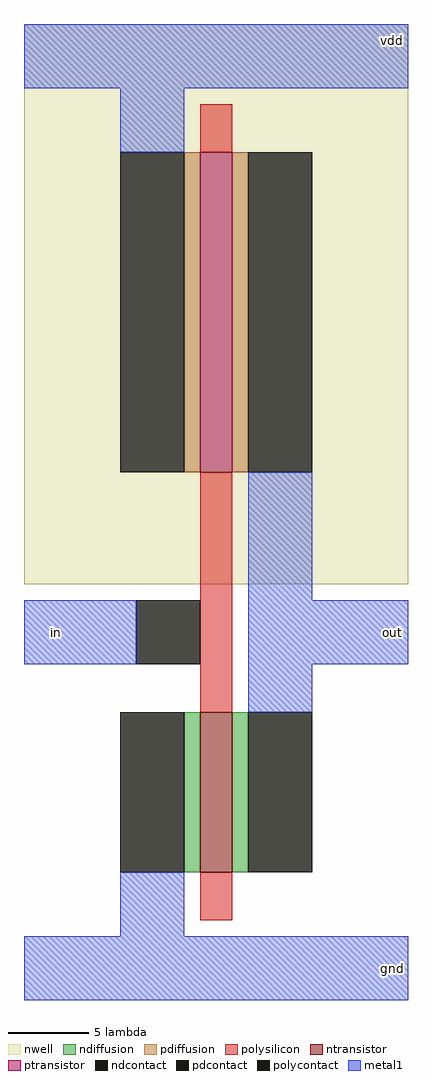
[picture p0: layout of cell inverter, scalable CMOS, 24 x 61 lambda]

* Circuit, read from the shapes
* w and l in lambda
.subckt inverter gnd in out vdd
M1 out in gnd VSUBS nfet w=10 l=2
M2 out in vdd n1 pfet w=20 l=2
.ends

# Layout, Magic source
magic
tech scmos
<< nwell >>
rect 39 19 63 54
<< ntransistor >>
rect 50 1 52 11
<< ptransistor >>
rect 50 26 52 46
<< ndiffusion >>
rect 49 1 50 11
rect 52 1 53 11
<< pdiffusion >>
rect 49 26 50 46
rect 52 26 53 46
<< ndcontact >>
rect 45 1 49 11
rect 53 1 57 11
<< pdcontact >>
rect 45 26 49 46
rect 53 26 57 46
<< polysilicon >>
rect 50 46 52 49
rect 50 11 52 26
rect 50 -2 52 1
<< polycontact >>
rect 46 14 50 18
<< metal1 >>
rect 39 50 63 54
rect 45 46 49 50
rect 53 18 57 26
rect 39 14 46 18
rect 53 14 63 18
rect 53 11 57 14
rect 45 -3 49 1
rect 39 -7 63 -3
<< labels >>
rlabel metal1 62 53 62 53 6 vdd
rlabel metal1 62 -5 62 -5 8 gnd
rlabel metal1 41 16 41 16 3 in
rlabel metal1 62 16 62 16 7 out
<< end >>
